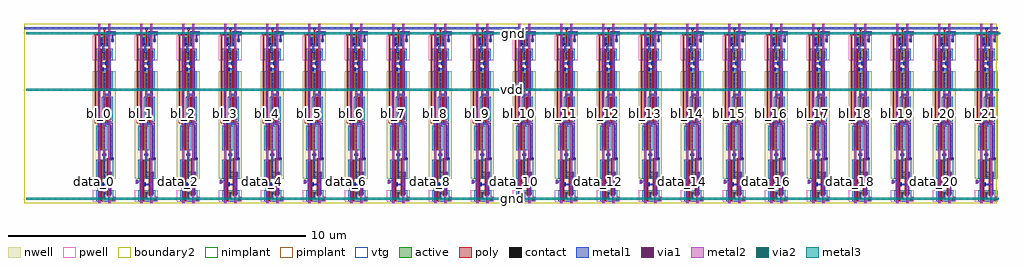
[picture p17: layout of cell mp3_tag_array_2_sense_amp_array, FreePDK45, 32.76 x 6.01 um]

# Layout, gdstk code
import gdstk
lib = gdstk.Library(unit=1e-6, precision=5e-10)
def R(c, l, rs):  # rectangles x0, y0, x1, y1
    for r in rs: c.add(gdstk.rectangle(r[:2], r[2:], *l))
def A(c, l, x, y, w, h, nx, ny, dx, dy):  # array of equal rectangles
    R(c, l, [(x+i*dx, y+j*dy, x+i*dx+w, y+j*dy+h) for i in range(nx) for j in range(ny)])
def P(c, l, *ps):  # polygons
    for p in ps: c.add(gdstk.Polygon(p, *l))
active = (1, 0)
pwell = (2, 0)
nwell = (3, 0)
nimplant = (4, 0)
pimplant = (5, 0)
vtg = (6, 0)
poly = (9, 0)
contact = (10, 0)
metal1 = (11, 0)
via1 = (12, 0)
metal2 = (13, 0)
via2 = (14, 0)
metal3 = (15, 0)
boundary2 = (239, 0)

sense_amp = lib.new_cell('sense_amp')
R(sense_amp, active, [(0.595,0.095,0.685,0.185), (0.3075,1.58,0.3975,1.67), (0.1275,1.82,0.3875,2.54), (0.1275,1.82,0.2025,2.54), (0.1275,1.82,0.2025,2.54), (0.3125,1.82,0.3875,2.54), (0.3125,1.82,0.3875,2.54), (0.1275,1.905,0.2025,2.54), (0.3125,1.905,0.3875,2.54), (0.3175,2.79,0.5775,3.51), (0.3175,2.79,0.3925,3.51), (0.3175,2.79,0.3925,3.51), (0.5025,2.79,0.5775,3.51), (0.5025,2.79,0.5775,3.51), (0.3175,2.875,0.3925,3.51), (0.5025,2.875,0.5775,3.51), (0.1275,3.8275,0.2025,4.3225), (0.1275,3.8275,0.3875,4.3675), (0.1275,3.8275,0.2025,4.3675), (0.1275,3.8275,0.2025,4.3675), (0.3125,3.8275,0.3875,4.3225), (0.3125,3.8275,0.3875,4.3675), (0.3125,3.8275,0.3875,4.3675), (0.3175,3.8275,0.3925,4.3225), (0.3175,3.8275,0.5775,4.3675), (0.3175,3.8275,0.3925,4.3675), (0.3175,3.8275,0.3925,4.3675), (0.5025,3.8275,0.5775,4.3225), (0.5025,3.8275,0.5775,4.3675), (0.5025,3.8275,0.5775,4.3675), (0.1275,4.8525,0.2025,5.0675), (0.1275,4.8525,0.3875,5.1225), (0.1275,4.8525,0.2025,5.1225), (0.1275,4.8525,0.2025,5.1225), (0.3125,4.8525,0.3875,5.0675), (0.3125,4.8525,0.3875,5.1225), (0.3125,4.8525,0.3875,5.1225), (0.3175,4.8525,0.3925,5.0675), (0.3175,4.8525,0.5775,5.1225), (0.3175,4.8525,0.3925,5.1225), (0.3175,4.8525,0.3925,5.1225), (0.5025,4.8525,0.5775,5.0675), (0.5025,4.8525,0.5775,5.1225), (0.5025,4.8525,0.5775,5.1225), (0.2275,5.31,0.3025,5.525), (0.2275,5.31,0.4875,5.58), (0.2275,5.31,0.3025,5.58), (0.2275,5.31,0.3025,5.58), (0.4125,5.31,0.4875,5.525), (0.4125,5.31,0.4875,5.58), (0.4125,5.31,0.4875,5.58), (0.58,5.42,0.67,5.51)])
P(sense_amp, active, [(0.1275,0.11),(0.1275,0.38),(0.5925,0.38),(0.5925,0.29),(0.3875,0.29),(0.3875,0.11)],
  [(0.1275,0.865),(0.1275,1.405),(0.3875,1.405),(0.3875,1.045),(0.5925,1.045),(0.5925,0.865)])
R(sense_amp, pwell, [(-0.035,0.055,0.74,0.435), (-0.035,4.7975,0.74,5.635), (0.0725,4.7975,0.4425,5.1775), (0.2625,4.7975,0.6325,5.1775), (0.1725,5.255,0.5425,5.635), (0.525,5.365,0.725,5.565)])
P(sense_amp, pwell, [(-0.035,0.04),(-0.035,0.055),(0.595,0.055),(0.595,0.095),(0.685,0.095),(0.685,0.055),(0.74,0.055),(0.74,0.04)])
R(sense_amp, nwell, [(-0.035,0.81,0.74,4.4225), (0.0725,1.765,0.4425,2.595), (0.2625,2.735,0.6325,3.565), (0.0725,3.7725,0.4425,4.4225), (0.2625,3.7725,0.6325,4.4225)])
R(sense_amp, nimplant, [(0.3075,1.58,0.3975,1.67), (0.1275,4.8525,0.3875,5.1225), (0.3175,4.8525,0.5775,5.1225), (0.2275,5.31,0.4875,5.58)])
P(sense_amp, nimplant, [(0.1275,0.11),(0.1275,0.38),(0.5925,0.38),(0.5925,0.29),(0.3875,0.29),(0.3875,0.11)])
R(sense_amp, pimplant, [(0.595,0.095,0.685,0.185), (0.1275,1.82,0.3875,2.54), (0.3175,2.79,0.5775,3.51), (0.1275,3.8275,0.3875,4.3675), (0.3175,3.8275,0.5775,4.3675), (0.58,5.42,0.67,5.51)])
P(sense_amp, pimplant, [(0.1275,0.865),(0.1275,1.405),(0.3875,1.405),(0.3875,1.045),(0.5925,1.045),(0.5925,0.865)])
R(sense_amp, vtg, [(0.0725,0.055,0.6475,0.435), (0.0725,0.81,0.645,1.46), (0.0725,1.765,0.4425,2.595), (0.2625,2.735,0.6325,3.565), (0.0725,3.7725,0.4425,4.4225), (0.2625,3.7725,0.6325,4.4225), (0.0725,4.7975,0.4425,5.1775), (0.2625,4.7975,0.6325,5.1775), (0.1725,5.255,0.5425,5.635)])
R(sense_amp, poly, [(0.2325,0.055,0.2825,1.46), (0.2575,0.585,0.3325,0.66), (0.2325,1.765,0.2825,1.82), (0.2325,1.765,0.2825,2.595), (0.2325,2.54,0.2825,2.595), (0.2325,2.595,0.2825,2.685), (0.0275,2.685,0.4725,2.735), (0.0275,2.735,0.0775,5.635), (0.4225,2.735,0.4725,2.79), (0.4225,2.735,0.4725,3.565), (0.4225,3.51,0.4725,3.565), (0.2325,3.7725,0.2825,3.8275), (0.2325,3.7725,0.2825,4.4225), (0.4225,3.7725,0.4725,3.8275), (0.4225,3.7725,0.4725,4.4225), (0.2325,4.04,0.2825,4.7975), (0.4225,4.04,0.4725,4.7975), (0.2325,4.3675,0.2825,4.4225), (0.4225,4.3675,0.4725,4.4225), (0.2575,4.4525,0.3325,4.5275), (0.3725,4.6525,0.4475,4.7275), (0.2325,4.7975,0.2825,4.8525), (0.2325,4.7975,0.2825,5.1775), (0.4225,4.7975,0.4725,4.8525), (0.4225,4.7975,0.4725,5.1775), (0.2325,5.1225,0.2825,5.1775), (0.4225,5.1225,0.4725,5.1775), (0.3325,5.255,0.3825,5.31), (0.3325,5.255,0.3825,5.635), (0.3325,5.58,0.3825,5.635), (0.0275,5.635,0.3825,5.685), (0.3325,5.685,0.3825,5.89), (0.32,5.8225,0.395,5.8975)])
P(sense_amp, poly, [(0.4375,0.235),(0.4375,1.505),(0.56,1.505),(0.56,1.525),(0.635,1.525),(0.635,1.45),(0.4875,1.45),(0.4875,0.235)])
A(sense_amp, contact, 0.1325, 0.8875, 0.065, 0.065, 1, 4, 0, 0.14)
A(sense_amp, contact, 0.3175, 0.8875, 0.065, 0.065, 1, 4, 0, 0.14)
A(sense_amp, contact, 0.1325, 1.91, 0.065, 0.065, 1, 5, 0, 0.14)
A(sense_amp, contact, 0.3175, 1.91, 0.065, 0.065, 1, 5, 0, 0.14)
A(sense_amp, contact, 0.3225, 2.88, 0.065, 0.065, 1, 5, 0, 0.14)
A(sense_amp, contact, 0.5075, 2.88, 0.065, 0.065, 1, 5, 0, 0.14)
A(sense_amp, contact, 0.1325, 3.8325, 0.065, 0.065, 1, 4, 0, 0.14)
A(sense_amp, contact, 0.3225, 3.8325, 0.065, 0.065, 1, 4, 0, 0.14)
A(sense_amp, contact, 0.5075, 3.8325, 0.065, 0.065, 1, 4, 0, 0.14)
R(sense_amp, contact, [(0.61,0.1075,0.675,0.1725), (0.1325,0.1425,0.1975,0.2075), (0.3175,0.1425,0.3825,0.2075), (0.1325,0.2825,0.1975,0.3475), (0.3175,0.2825,0.3825,0.3475), (0.5225,0.3,0.5875,0.365), (0.2625,0.59,0.3275,0.655), (0.5225,0.92,0.5875,0.985), (0.565,1.455,0.63,1.52), (0.32,1.5925,0.385,1.6575), (0.2625,4.4575,0.3275,4.5225), (0.3775,4.6575,0.4425,4.7225), (0.1325,4.8575,0.1975,4.9225), (0.3225,4.8575,0.3875,4.9225), (0.5075,4.8575,0.5725,4.9225), (0.1325,4.9975,0.1975,5.0625), (0.3225,4.9975,0.3875,5.0625), (0.5075,4.9975,0.5725,5.0625), (0.2325,5.315,0.2975,5.38), (0.4175,5.315,0.4825,5.38), (0.5925,5.4325,0.6575,5.4975), (0.2325,5.455,0.2975,5.52), (0.4175,5.455,0.4825,5.52), (0.325,5.8275,0.39,5.8925)])
R(sense_amp, metal1, [(0.1325,0.1075,0.1975,1.4075), (0.3175,0.1075,0.3825,0.3825), (0.3825,0.1075,0.5675,0.1725), (0.5225,0.265,0.5875,0.3), (0.2625,0.555,0.3275,0.69), (-0.0025,0.64,0.0625,0.775), (-0.0075,0.67,0.0675,0.745), (0.0675,0.675,0.1325,0.74), (0.3175,0.8525,0.3825,0.8875), (0.3175,0.8875,0.3825,1.6575), (0.5225,0.985,0.5875,1.02), (0.53,1.455,0.665,1.52), (0.565,1.455,0.63,2.7), (0.285,1.5925,0.42,1.6575), (0.32,1.5925,0.385,1.7275), (0.1325,1.875,0.1975,2.57), (0.3175,1.875,0.3825,2.57), (0.1275,2.435,0.1925,2.57), (0.32,2.5025,0.385,2.7), (0.1325,2.635,0.63,2.7), (0.1325,2.7,0.1975,3.7975), (0.3225,2.845,0.3875,3.54), (0.5075,2.845,0.5725,3.54), (0.51,2.845,0.575,2.98), (0.3225,3.475,0.3875,3.67), (0.3225,3.605,0.5725,3.67), (0.5075,3.605,0.5725,3.8), (0.32,3.735,0.385,3.87), (0.1325,3.7975,0.1975,4.3525), (0.3175,3.7975,0.3825,4.3525), (0.3225,3.7975,0.3875,4.3525), (0.5075,3.7975,0.5725,4.3525), (0.1325,3.96,0.1975,4.8275), (0.5075,3.96,0.5725,4.8225), (0.2625,4.4225,0.3275,4.5575), (0.2825,4.4575,0.5725,4.5225), (0.3775,4.6225,0.4425,4.7575), (0.1325,4.6575,0.4225,4.7225), (0.1325,4.8225,0.1975,5.0975), (0.3175,4.8225,0.3825,5.0975), (0.3225,4.8225,0.3875,5.0975), (0.5075,4.8225,0.5725,5.0975), (0.2825,5.04,0.3525,5.3675), (0.2325,5.28,0.2975,5.555), (0.4175,5.28,0.4825,5.555), (0.5925,5.3975,0.6575,5.5325), (0.5925,5.5325,0.6575,5.7625), (0.4175,5.545,0.4825,5.6975), (0.6575,5.6275,0.6725,5.6975), (0.6725,5.6275,0.7375,5.7625), (0.4175,5.6975,0.74,5.7625), (-0.035,5.8275,0.74,5.8925), (-0.035,5.8275,0.74,5.8925), (0.23,5.8275,0.295,5.8925), (0.29,5.8275,0.425,5.8925)])
P(sense_amp, metal1, [(0.5225,0.3),(0.5225,0.59),(0.2625,0.59),(0.2625,0.655),(0.5225,0.655),(0.5225,0.985),(0.5875,0.985),(0.5875,0.3)],
  [(0.6325,0.0725),(0.6325,0.1075),(0.5675,0.1075),(0.5675,0.1725),(0.6325,0.1725),(0.6325,0.2075),(0.6975,0.2075),(0.6975,0.1725),(0.71,0.1725),(0.71,0.1075),(0.6975,0.1075),(0.6975,0.0725)],
  [(0,1.4525),(0,1.4525),(0,1.4525),(0,1.4525)])
R(sense_amp, via1, [(0.6325,0.1075,0.6975,0.1725), (-0.0025,0.675,0.0625,0.74), (0.32,1.6275,0.385,1.6925), (0.1275,2.47,0.1925,2.535), (0.51,2.88,0.575,2.945), (0.32,3.77,0.385,3.835), (0.6725,5.6625,0.7375,5.7275)])
R(sense_amp, metal2, [(0.15,0,0.22,6.01), (0.15,0,0.22,6.01), (0.485,0,0.555,6.01), (0.485,0,0.555,6.01), (0.6275,0.0725,0.7025,0.2075), (0.6275,0.0725,0.7025,0.2075), (0.6275,0.1025,0.7025,0.1775), (-0.01,0.64,0.0675,0.775), (-0.01,0.64,0.0675,0.775), (-0.0075,0.67,0.0675,0.745), (0.3175,1.5925,0.3875,1.7275), (0.3175,1.725,0.3875,3.735), (0.125,2.435,0.195,2.57), (0.5075,2.845,0.5775,2.98), (0.3175,3.735,0.3875,3.87), (0.3175,3.735,0.3875,3.87), (0.67,5.6275,0.74,5.7625), (0.67,5.6275,0.74,5.7625)])
R(sense_amp, boundary2, [(0,0,0.705,6.01)])
sense_amp.add(gdstk.Label('en', (0.258,5.86), layer=11, texttype=0))
sense_amp.add(gdstk.Label('dout', (0.0285,0.6925), layer=13, texttype=0))
sense_amp.add(gdstk.Label('gnd', (0.6555,0.1235), layer=13, texttype=0))
sense_amp.add(gdstk.Label('bl', (0.19,0.005), layer=13, texttype=0))
sense_amp.add(gdstk.Label('br', (0.52,0.0065), layer=13, texttype=0))
sense_amp.add(gdstk.Label('vdd', (0.3525,3.8), layer=13, texttype=0))
sense_amp.add(gdstk.Label('gnd', (0.7025,5.735), layer=13, texttype=0))
sense_amp.add(gdstk.Label('bl', (0.185,3.005), layer=13, texttype=0))
sense_amp.add(gdstk.Label('br', (0.52,3.005), layer=13, texttype=0))
sense_amp.add(gdstk.Label('dout', (0.029,0.7075), layer=13, texttype=0))
sense_amp.add(gdstk.Label('en', (0.3525,5.86), layer=11, texttype=0))
sense_amp.add(gdstk.Label('vdd', (0.3525,3.8025), layer=13, texttype=0))
sense_amp.add(gdstk.Label('gnd', (0.665,0.14), layer=13, texttype=0))
sense_amp.add(gdstk.Label('gnd', (0.705,5.695), layer=13, texttype=0))

mp3_tag_array_2_contact_ = lib.new_cell('mp3_tag_array_2_contact_18')
R(mp3_tag_array_2_contact_, metal2, [(0.0325,0,0.1025,0.135)])
R(mp3_tag_array_2_contact_, via2, [(0.035,0.035,0.1,0.1)])
R(mp3_tag_array_2_contact_, metal3, [(0,0.0325,0.135,0.1025)])
R(mp3_tag_array_2_contact_, boundary2, [(0,0,0.135,0.135)])

mp3_tag_array_2_sense_am = lib.new_cell('mp3_tag_array_2_sense_amp_array')
A(mp3_tag_array_2_sense_am, metal1, 2.665, 5.8275, 0.065, 0.065, 22, 1, 1.41, 0)
R(mp3_tag_array_2_sense_am, metal1, [(0,5.8275,32.66,5.8925)])
A(mp3_tag_array_2_sense_am, metal2, 2.335, 0.64, 0.0775, 0.135, 22, 1, 1.41, 0)
R(mp3_tag_array_2_sense_am, metal2, [(2.495,0,2.565,6.01), (2.83,0,2.9,6.01), (3.905,0,3.975,6.01), (4.24,0,4.31,6.01), (5.315,0,5.385,6.01), (5.65,0,5.72,6.01), (6.725,0,6.795,6.01), (7.06,0,7.13,6.01), (8.135,0,8.205,6.01), (8.47,0,8.54,6.01), (9.545,0,9.615,6.01), (9.88,0,9.95,6.01), (10.955,0,11.025,6.01), (11.29,0,11.36,6.01), (12.365,0,12.435,6.01), (12.7,0,12.77,6.01), (13.775,0,13.845,6.01), (14.11,0,14.18,6.01), (15.185,0,15.255,6.01), (15.52,0,15.59,6.01), (16.595,0,16.665,6.01), (16.93,0,17,6.01), (18.005,0,18.075,6.01), (18.34,0,18.41,6.01), (19.415,0,19.485,6.01), (19.75,0,19.82,6.01), (20.825,0,20.895,6.01), (21.16,0,21.23,6.01), (22.235,0,22.305,6.01), (22.57,0,22.64,6.01), (23.645,0,23.715,6.01), (23.98,0,24.05,6.01), (25.055,0,25.125,6.01), (25.39,0,25.46,6.01), (26.465,0,26.535,6.01), (26.8,0,26.87,6.01), (27.875,0,27.945,6.01), (28.21,0,28.28,6.01), (29.285,0,29.355,6.01), (29.62,0,29.69,6.01), (30.695,0,30.765,6.01), (31.03,0,31.1,6.01), (32.105,0,32.175,6.01), (32.44,0,32.51,6.01)])
R(mp3_tag_array_2_sense_am, metal3, [(0.0675,0.105,32.7275,0.175), (0.0675,3.7675,32.7275,3.8375), (0.0675,5.66,32.7625,5.73)])
R(mp3_tag_array_2_sense_am, boundary2, [(0,0,32.66,6.01)])
mp3_tag_array_2_sense_am.add(gdstk.Reference(sense_amp, (2.345,0)))
mp3_tag_array_2_sense_am.add(gdstk.Reference(sense_amp, (3.755,0)))
mp3_tag_array_2_sense_am.add(gdstk.Reference(sense_amp, (5.165,0)))
mp3_tag_array_2_sense_am.add(gdstk.Reference(sense_amp, (6.575,0)))
mp3_tag_array_2_sense_am.add(gdstk.Reference(sense_amp, (7.985,0)))
mp3_tag_array_2_sense_am.add(gdstk.Reference(sense_amp, (9.395,0)))
mp3_tag_array_2_sense_am.add(gdstk.Reference(sense_amp, (10.805,0)))
mp3_tag_array_2_sense_am.add(gdstk.Reference(sense_amp, (12.215,0)))
mp3_tag_array_2_sense_am.add(gdstk.Reference(sense_amp, (13.625,0)))
mp3_tag_array_2_sense_am.add(gdstk.Reference(sense_amp, (15.035,0)))
mp3_tag_array_2_sense_am.add(gdstk.Reference(sense_amp, (16.445,0)))
mp3_tag_array_2_sense_am.add(gdstk.Reference(sense_amp, (17.855,0)))
mp3_tag_array_2_sense_am.add(gdstk.Reference(sense_amp, (19.265,0)))
mp3_tag_array_2_sense_am.add(gdstk.Reference(sense_amp, (20.675,0)))
mp3_tag_array_2_sense_am.add(gdstk.Reference(sense_amp, (22.085,0)))
mp3_tag_array_2_sense_am.add(gdstk.Reference(sense_amp, (23.495,0)))
mp3_tag_array_2_sense_am.add(gdstk.Reference(sense_amp, (24.905,0)))
mp3_tag_array_2_sense_am.add(gdstk.Reference(sense_amp, (26.315,0)))
mp3_tag_array_2_sense_am.add(gdstk.Reference(sense_amp, (27.725,0)))
mp3_tag_array_2_sense_am.add(gdstk.Reference(sense_amp, (29.135,0)))
mp3_tag_array_2_sense_am.add(gdstk.Reference(sense_amp, (30.545,0)))
mp3_tag_array_2_sense_am.add(gdstk.Reference(sense_amp, (31.955,0)))
mp3_tag_array_2_sense_am.add(gdstk.Reference(mp3_tag_array_2_contact_, (2.63,3.735)))
mp3_tag_array_2_sense_am.add(gdstk.Reference(mp3_tag_array_2_contact_, (4.04,3.735)))
mp3_tag_array_2_sense_am.add(gdstk.Reference(mp3_tag_array_2_contact_, (5.45,3.735)))
mp3_tag_array_2_sense_am.add(gdstk.Reference(mp3_tag_array_2_contact_, (6.86,3.735)))
mp3_tag_array_2_sense_am.add(gdstk.Reference(mp3_tag_array_2_contact_, (8.27,3.735)))
mp3_tag_array_2_sense_am.add(gdstk.Reference(mp3_tag_array_2_contact_, (9.68,3.735)))
mp3_tag_array_2_sense_am.add(gdstk.Reference(mp3_tag_array_2_contact_, (11.09,3.735)))
mp3_tag_array_2_sense_am.add(gdstk.Reference(mp3_tag_array_2_contact_, (12.5,3.735)))
mp3_tag_array_2_sense_am.add(gdstk.Reference(mp3_tag_array_2_contact_, (13.91,3.735)))
mp3_tag_array_2_sense_am.add(gdstk.Reference(mp3_tag_array_2_contact_, (15.32,3.735)))
mp3_tag_array_2_sense_am.add(gdstk.Reference(mp3_tag_array_2_contact_, (16.73,3.735)))
mp3_tag_array_2_sense_am.add(gdstk.Reference(mp3_tag_array_2_contact_, (18.14,3.735)))
mp3_tag_array_2_sense_am.add(gdstk.Reference(mp3_tag_array_2_contact_, (19.55,3.735)))
mp3_tag_array_2_sense_am.add(gdstk.Reference(mp3_tag_array_2_contact_, (20.96,3.735)))
mp3_tag_array_2_sense_am.add(gdstk.Reference(mp3_tag_array_2_contact_, (22.37,3.735)))
mp3_tag_array_2_sense_am.add(gdstk.Reference(mp3_tag_array_2_contact_, (23.78,3.735)))
mp3_tag_array_2_sense_am.add(gdstk.Reference(mp3_tag_array_2_contact_, (25.19,3.735)))
mp3_tag_array_2_sense_am.add(gdstk.Reference(mp3_tag_array_2_contact_, (26.6,3.735)))
mp3_tag_array_2_sense_am.add(gdstk.Reference(mp3_tag_array_2_contact_, (28.01,3.735)))
mp3_tag_array_2_sense_am.add(gdstk.Reference(mp3_tag_array_2_contact_, (29.42,3.735)))
mp3_tag_array_2_sense_am.add(gdstk.Reference(mp3_tag_array_2_contact_, (30.83,3.735)))
mp3_tag_array_2_sense_am.add(gdstk.Reference(mp3_tag_array_2_contact_, (32.24,3.735)))
mp3_tag_array_2_sense_am.add(gdstk.Reference(mp3_tag_array_2_contact_, (2.9425,0.0725)))
mp3_tag_array_2_sense_am.add(gdstk.Reference(mp3_tag_array_2_contact_, (4.3525,0.0725)))
mp3_tag_array_2_sense_am.add(gdstk.Reference(mp3_tag_array_2_contact_, (5.7625,0.0725)))
mp3_tag_array_2_sense_am.add(gdstk.Reference(mp3_tag_array_2_contact_, (7.1725,0.0725)))
mp3_tag_array_2_sense_am.add(gdstk.Reference(mp3_tag_array_2_contact_, (8.5825,0.0725)))
mp3_tag_array_2_sense_am.add(gdstk.Reference(mp3_tag_array_2_contact_, (9.9925,0.0725)))
mp3_tag_array_2_sense_am.add(gdstk.Reference(mp3_tag_array_2_contact_, (11.4025,0.0725)))
mp3_tag_array_2_sense_am.add(gdstk.Reference(mp3_tag_array_2_contact_, (12.8125,0.0725)))
mp3_tag_array_2_sense_am.add(gdstk.Reference(mp3_tag_array_2_contact_, (14.2225,0.0725)))
mp3_tag_array_2_sense_am.add(gdstk.Reference(mp3_tag_array_2_contact_, (15.6325,0.0725)))
mp3_tag_array_2_sense_am.add(gdstk.Reference(mp3_tag_array_2_contact_, (17.0425,0.0725)))
mp3_tag_array_2_sense_am.add(gdstk.Reference(mp3_tag_array_2_contact_, (18.4525,0.0725)))
mp3_tag_array_2_sense_am.add(gdstk.Reference(mp3_tag_array_2_contact_, (19.8625,0.0725)))
mp3_tag_array_2_sense_am.add(gdstk.Reference(mp3_tag_array_2_contact_, (21.2725,0.0725)))
mp3_tag_array_2_sense_am.add(gdstk.Reference(mp3_tag_array_2_contact_, (22.6825,0.0725)))
mp3_tag_array_2_sense_am.add(gdstk.Reference(mp3_tag_array_2_contact_, (24.0925,0.0725)))
mp3_tag_array_2_sense_am.add(gdstk.Reference(mp3_tag_array_2_contact_, (25.5025,0.0725)))
mp3_tag_array_2_sense_am.add(gdstk.Reference(mp3_tag_array_2_contact_, (26.9125,0.0725)))
mp3_tag_array_2_sense_am.add(gdstk.Reference(mp3_tag_array_2_contact_, (28.3225,0.0725)))
mp3_tag_array_2_sense_am.add(gdstk.Reference(mp3_tag_array_2_contact_, (29.7325,0.0725)))
mp3_tag_array_2_sense_am.add(gdstk.Reference(mp3_tag_array_2_contact_, (31.1425,0.0725)))
mp3_tag_array_2_sense_am.add(gdstk.Reference(mp3_tag_array_2_contact_, (32.5525,0.0725)))
mp3_tag_array_2_sense_am.add(gdstk.Reference(mp3_tag_array_2_contact_, (2.9825,5.6275)))
mp3_tag_array_2_sense_am.add(gdstk.Reference(mp3_tag_array_2_contact_, (4.3925,5.6275)))
mp3_tag_array_2_sense_am.add(gdstk.Reference(mp3_tag_array_2_contact_, (5.8025,5.6275)))
mp3_tag_array_2_sense_am.add(gdstk.Reference(mp3_tag_array_2_contact_, (7.2125,5.6275)))
mp3_tag_array_2_sense_am.add(gdstk.Reference(mp3_tag_array_2_contact_, (8.6225,5.6275)))
mp3_tag_array_2_sense_am.add(gdstk.Reference(mp3_tag_array_2_contact_, (10.0325,5.6275)))
mp3_tag_array_2_sense_am.add(gdstk.Reference(mp3_tag_array_2_contact_, (11.4425,5.6275)))
mp3_tag_array_2_sense_am.add(gdstk.Reference(mp3_tag_array_2_contact_, (12.8525,5.6275)))
mp3_tag_array_2_sense_am.add(gdstk.Reference(mp3_tag_array_2_contact_, (14.2625,5.6275)))
mp3_tag_array_2_sense_am.add(gdstk.Reference(mp3_tag_array_2_contact_, (15.6725,5.6275)))
mp3_tag_array_2_sense_am.add(gdstk.Reference(mp3_tag_array_2_contact_, (17.0825,5.6275)))
mp3_tag_array_2_sense_am.add(gdstk.Reference(mp3_tag_array_2_contact_, (18.4925,5.6275)))
mp3_tag_array_2_sense_am.add(gdstk.Reference(mp3_tag_array_2_contact_, (19.9025,5.6275)))
mp3_tag_array_2_sense_am.add(gdstk.Reference(mp3_tag_array_2_contact_, (21.3125,5.6275)))
mp3_tag_array_2_sense_am.add(gdstk.Reference(mp3_tag_array_2_contact_, (22.7225,5.6275)))
mp3_tag_array_2_sense_am.add(gdstk.Reference(mp3_tag_array_2_contact_, (24.1325,5.6275)))
mp3_tag_array_2_sense_am.add(gdstk.Reference(mp3_tag_array_2_contact_, (25.5425,5.6275)))
mp3_tag_array_2_sense_am.add(gdstk.Reference(mp3_tag_array_2_contact_, (26.9525,5.6275)))
mp3_tag_array_2_sense_am.add(gdstk.Reference(mp3_tag_array_2_contact_, (28.3625,5.6275)))
mp3_tag_array_2_sense_am.add(gdstk.Reference(mp3_tag_array_2_contact_, (29.7725,5.6275)))
mp3_tag_array_2_sense_am.add(gdstk.Reference(mp3_tag_array_2_contact_, (31.1825,5.6275)))
mp3_tag_array_2_sense_am.add(gdstk.Reference(mp3_tag_array_2_contact_, (32.5925,5.6275)))
mp3_tag_array_2_sense_am.add(gdstk.Label('bl_0', (2.53,3.005), layer=13, texttype=0))
mp3_tag_array_2_sense_am.add(gdstk.Label('br_0', (2.865,3.005), layer=13, texttype=0))
mp3_tag_array_2_sense_am.add(gdstk.Label('data_0', (2.374,0.7075), layer=13, texttype=0))
mp3_tag_array_2_sense_am.add(gdstk.Label('bl_1', (3.94,3.005), layer=13, texttype=0))
mp3_tag_array_2_sense_am.add(gdstk.Label('br_1', (4.275,3.005), layer=13, texttype=0))
mp3_tag_array_2_sense_am.add(gdstk.Label('data_1', (3.784,0.7075), layer=13, texttype=0))
mp3_tag_array_2_sense_am.add(gdstk.Label('bl_2', (5.35,3.005), layer=13, texttype=0))
mp3_tag_array_2_sense_am.add(gdstk.Label('br_2', (5.685,3.005), layer=13, texttype=0))
mp3_tag_array_2_sense_am.add(gdstk.Label('data_2', (5.194,0.7075), layer=13, texttype=0))
mp3_tag_array_2_sense_am.add(gdstk.Label('bl_3', (6.76,3.005), layer=13, texttype=0))
mp3_tag_array_2_sense_am.add(gdstk.Label('br_3', (7.095,3.005), layer=13, texttype=0))
mp3_tag_array_2_sense_am.add(gdstk.Label('data_3', (6.604,0.7075), layer=13, texttype=0))
mp3_tag_array_2_sense_am.add(gdstk.Label('bl_4', (8.17,3.005), layer=13, texttype=0))
mp3_tag_array_2_sense_am.add(gdstk.Label('br_4', (8.505,3.005), layer=13, texttype=0))
mp3_tag_array_2_sense_am.add(gdstk.Label('data_4', (8.014,0.7075), layer=13, texttype=0))
mp3_tag_array_2_sense_am.add(gdstk.Label('bl_5', (9.58,3.005), layer=13, texttype=0))
mp3_tag_array_2_sense_am.add(gdstk.Label('br_5', (9.915,3.005), layer=13, texttype=0))
mp3_tag_array_2_sense_am.add(gdstk.Label('data_5', (9.424,0.7075), layer=13, texttype=0))
mp3_tag_array_2_sense_am.add(gdstk.Label('bl_6', (10.99,3.005), layer=13, texttype=0))
mp3_tag_array_2_sense_am.add(gdstk.Label('br_6', (11.325,3.005), layer=13, texttype=0))
mp3_tag_array_2_sense_am.add(gdstk.Label('data_6', (10.834,0.7075), layer=13, texttype=0))
mp3_tag_array_2_sense_am.add(gdstk.Label('bl_7', (12.4,3.005), layer=13, texttype=0))
mp3_tag_array_2_sense_am.add(gdstk.Label('br_7', (12.735,3.005), layer=13, texttype=0))
mp3_tag_array_2_sense_am.add(gdstk.Label('data_7', (12.244,0.7075), layer=13, texttype=0))
mp3_tag_array_2_sense_am.add(gdstk.Label('bl_8', (13.81,3.005), layer=13, texttype=0))
mp3_tag_array_2_sense_am.add(gdstk.Label('br_8', (14.145,3.005), layer=13, texttype=0))
mp3_tag_array_2_sense_am.add(gdstk.Label('data_8', (13.654,0.7075), layer=13, texttype=0))
mp3_tag_array_2_sense_am.add(gdstk.Label('bl_9', (15.22,3.005), layer=13, texttype=0))
mp3_tag_array_2_sense_am.add(gdstk.Label('br_9', (15.555,3.005), layer=13, texttype=0))
mp3_tag_array_2_sense_am.add(gdstk.Label('data_9', (15.064,0.7075), layer=13, texttype=0))
mp3_tag_array_2_sense_am.add(gdstk.Label('bl_10', (16.63,3.005), layer=13, texttype=0))
mp3_tag_array_2_sense_am.add(gdstk.Label('br_10', (16.965,3.005), layer=13, texttype=0))
mp3_tag_array_2_sense_am.add(gdstk.Label('data_10', (16.474,0.7075), layer=13, texttype=0))
mp3_tag_array_2_sense_am.add(gdstk.Label('bl_11', (18.04,3.005), layer=13, texttype=0))
mp3_tag_array_2_sense_am.add(gdstk.Label('br_11', (18.375,3.005), layer=13, texttype=0))
mp3_tag_array_2_sense_am.add(gdstk.Label('data_11', (17.884,0.7075), layer=13, texttype=0))
mp3_tag_array_2_sense_am.add(gdstk.Label('bl_12', (19.45,3.005), layer=13, texttype=0))
mp3_tag_array_2_sense_am.add(gdstk.Label('br_12', (19.785,3.005), layer=13, texttype=0))
mp3_tag_array_2_sense_am.add(gdstk.Label('data_12', (19.294,0.7075), layer=13, texttype=0))
mp3_tag_array_2_sense_am.add(gdstk.Label('bl_13', (20.86,3.005), layer=13, texttype=0))
mp3_tag_array_2_sense_am.add(gdstk.Label('br_13', (21.195,3.005), layer=13, texttype=0))
mp3_tag_array_2_sense_am.add(gdstk.Label('data_13', (20.704,0.7075), layer=13, texttype=0))
mp3_tag_array_2_sense_am.add(gdstk.Label('bl_14', (22.27,3.005), layer=13, texttype=0))
mp3_tag_array_2_sense_am.add(gdstk.Label('br_14', (22.605,3.005), layer=13, texttype=0))
mp3_tag_array_2_sense_am.add(gdstk.Label('data_14', (22.114,0.7075), layer=13, texttype=0))
mp3_tag_array_2_sense_am.add(gdstk.Label('bl_15', (23.68,3.005), layer=13, texttype=0))
mp3_tag_array_2_sense_am.add(gdstk.Label('br_15', (24.015,3.005), layer=13, texttype=0))
mp3_tag_array_2_sense_am.add(gdstk.Label('data_15', (23.524,0.7075), layer=13, texttype=0))
mp3_tag_array_2_sense_am.add(gdstk.Label('bl_16', (25.09,3.005), layer=13, texttype=0))
mp3_tag_array_2_sense_am.add(gdstk.Label('br_16', (25.425,3.005), layer=13, texttype=0))
mp3_tag_array_2_sense_am.add(gdstk.Label('data_16', (24.934,0.7075), layer=13, texttype=0))
mp3_tag_array_2_sense_am.add(gdstk.Label('bl_17', (26.5,3.005), layer=13, texttype=0))
mp3_tag_array_2_sense_am.add(gdstk.Label('br_17', (26.835,3.005), layer=13, texttype=0))
mp3_tag_array_2_sense_am.add(gdstk.Label('data_17', (26.344,0.7075), layer=13, texttype=0))
mp3_tag_array_2_sense_am.add(gdstk.Label('bl_18', (27.91,3.005), layer=13, texttype=0))
mp3_tag_array_2_sense_am.add(gdstk.Label('br_18', (28.245,3.005), layer=13, texttype=0))
mp3_tag_array_2_sense_am.add(gdstk.Label('data_18', (27.754,0.7075), layer=13, texttype=0))
mp3_tag_array_2_sense_am.add(gdstk.Label('bl_19', (29.32,3.005), layer=13, texttype=0))
mp3_tag_array_2_sense_am.add(gdstk.Label('br_19', (29.655,3.005), layer=13, texttype=0))
mp3_tag_array_2_sense_am.add(gdstk.Label('data_19', (29.164,0.7075), layer=13, texttype=0))
mp3_tag_array_2_sense_am.add(gdstk.Label('bl_20', (30.73,3.005), layer=13, texttype=0))
mp3_tag_array_2_sense_am.add(gdstk.Label('br_20', (31.065,3.005), layer=13, texttype=0))
mp3_tag_array_2_sense_am.add(gdstk.Label('data_20', (30.574,0.7075), layer=13, texttype=0))
mp3_tag_array_2_sense_am.add(gdstk.Label('bl_21', (32.14,3.005), layer=13, texttype=0))
mp3_tag_array_2_sense_am.add(gdstk.Label('br_21', (32.475,3.005), layer=13, texttype=0))
mp3_tag_array_2_sense_am.add(gdstk.Label('data_21', (31.984,0.7075), layer=13, texttype=0))
mp3_tag_array_2_sense_am.add(gdstk.Label('vdd', (16.3975,3.8025), layer=15, texttype=0))
mp3_tag_array_2_sense_am.add(gdstk.Label('gnd', (16.415,5.695), layer=15, texttype=0))
mp3_tag_array_2_sense_am.add(gdstk.Label('gnd', (16.3975,0.14), layer=15, texttype=0))
mp3_tag_array_2_sense_am.add(gdstk.Label('en', (16.33,5.86), layer=11, texttype=0))

lib.write_gds('mp3_tag_array_2_sense_amp_array.gds')
